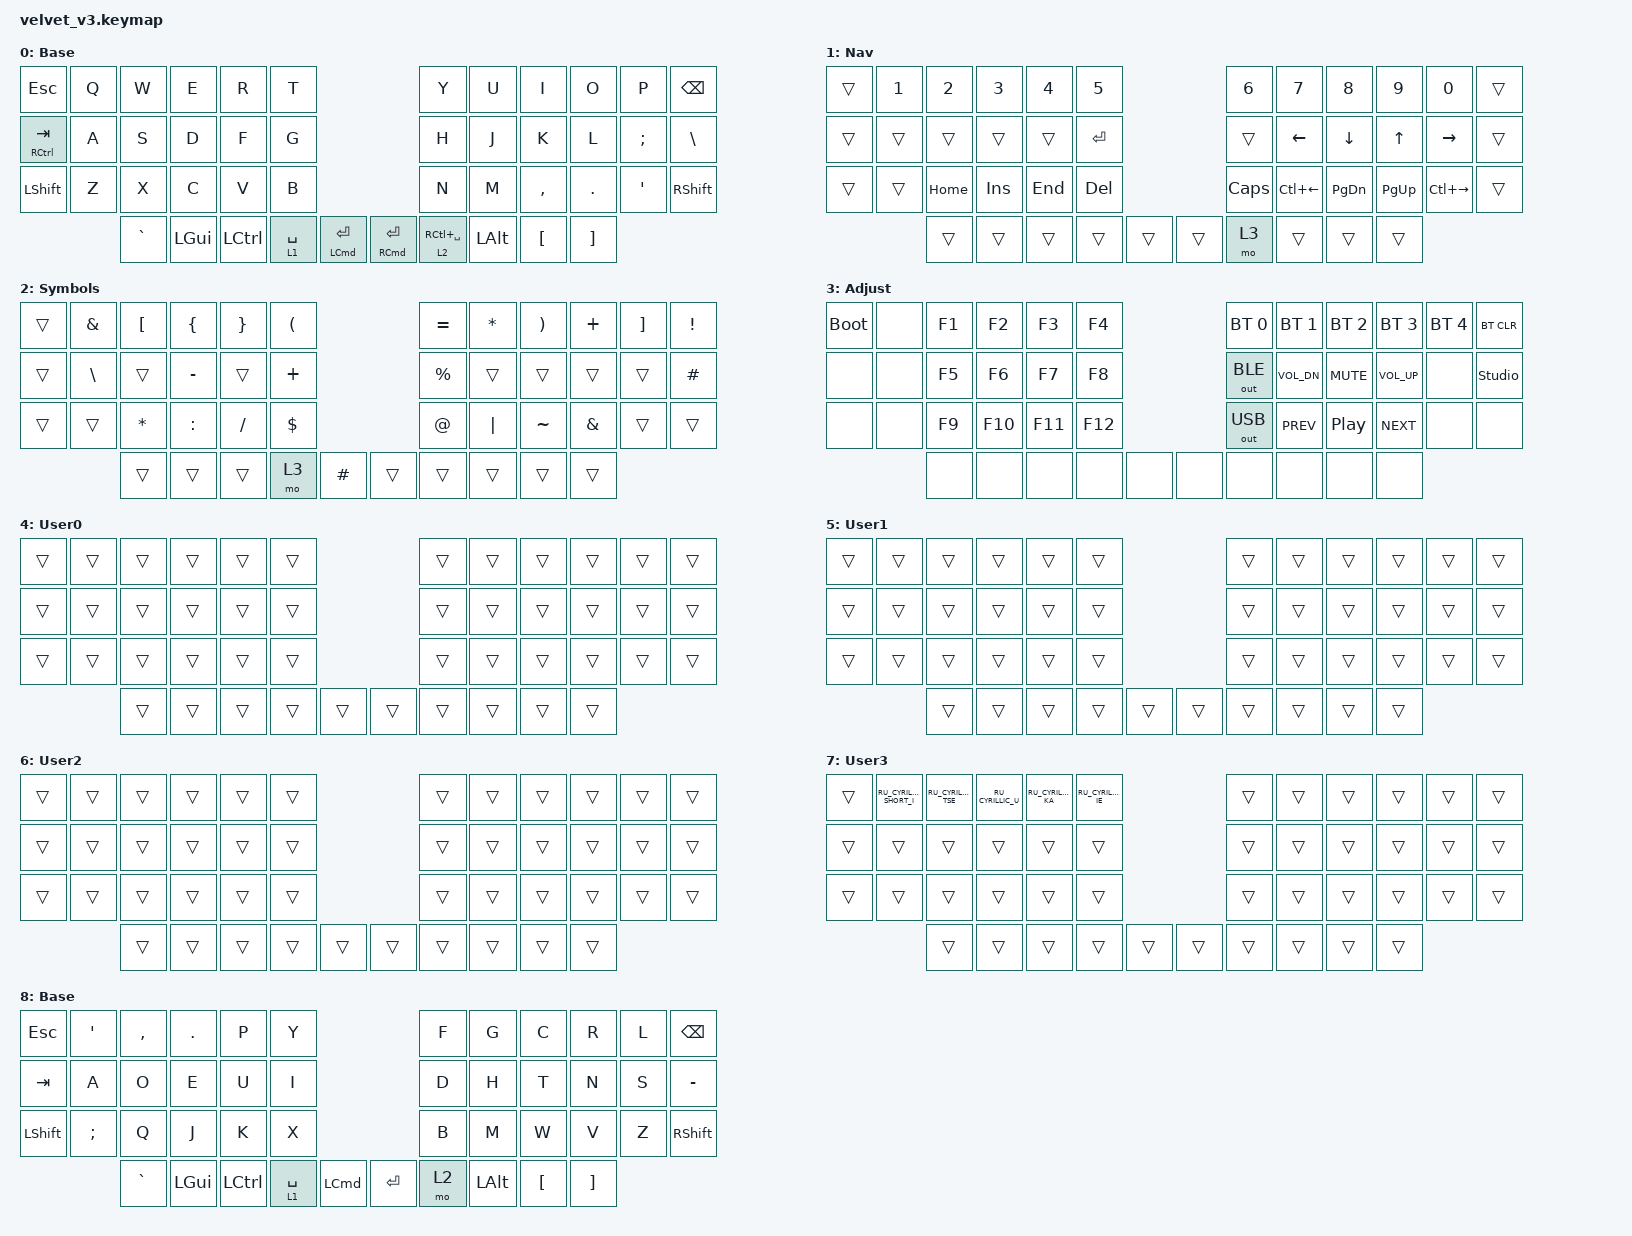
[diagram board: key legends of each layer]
#include "keys_ru.h"
#include <behaviors.dtsi>
#include <dt-bindings/zmk/bt.h>
#include <dt-bindings/zmk/keys.h>
#include <dt-bindings/zmk/outputs.h>

/ {
    combos {
        compatible = "zmk,combos";

        to_dvorak {
            bindings = <&to 8>;
            key-positions = <4 5>;
            layers = <0>;
        };

        to_base {
            bindings = <&to 0>;
            key-positions = <6 7>;
        };

        to_ru {
            bindings = <&to 7>;
            key-positions = <29 28>;
        };
    };

    keymap {
        compatible = "zmk,keymap";

        base {
            bindings = <
&kp ESC        &kp Q  &kp W      &kp E     &kp R      &kp T                                               &kp Y            &kp U     &kp I      &kp O     &kp P     &kp BSPC
&mt RCTRL TAB  &kp A  &kp S      &kp D     &kp F      &kp G                                               &kp H            &kp J     &kp K      &kp L     &kp SEMI  &kp BSLH
&kp LSHFT      &kp Z  &kp X      &kp C     &kp V      &kp B                                               &kp N            &kp M     &kp COMMA  &kp DOT   &kp SQT   &kp RSHFT
                      &kp GRAVE  &kp LGUI  &kp LCTRL  &lt 1 SPACE  &mt LCMD RET    &mt RIGHT_COMMAND RET  &lt 2 RC(SPACE)  &kp LALT  &kp LBKT   &kp RBKT
            >;

            display-name = "Base";
        };

        nav {
            bindings = <
&trans  &kp N1  &kp N2    &kp N3   &kp N4   &kp N5                     &kp N6    &kp N7        &kp N8         &kp N9       &kp N0         &trans
&trans  &trans  &trans    &trans   &trans   &kp RET                    &trans    &kp LEFT      &kp DOWN       &kp UP       &kp RIGHT      &trans
&trans  &trans  &kp HOME  &kp INS  &kp END  &kp DEL                    &kp CLCK  &kp LC(LEFT)  &kp PAGE_DOWN  &kp PAGE_UP  &kp LC(RIGHT)  &trans
                &trans    &trans   &trans   &trans   &trans    &trans  &mo 3     &trans        &trans         &trans
            >;

            display-name = "Nav";
        };

        sym {
            bindings = <
&trans  &kp AMPERSAND  &kp LEFT_BRACKET  &kp LEFT_BRACE  &kp RIGHT_BRACE  &kp LEFT_PARENTHESIS                      &kp EQUAL  &kp ASTRK  &kp RIGHT_PARENTHESIS  &kp PLUS  &kp RIGHT_BRACKET  &kp EXCL
&trans  &kp BSLH       &trans            &kp MINUS       &trans           &kp PLUS                                  &kp PRCNT  &trans     &trans                 &trans    &trans             &kp HASH
&trans  &trans         &kp STAR          &kp COLON       &kp FSLH         &kp DLLR                                  &kp AT     &kp PIPE   &kp TILDE              &kp AMPS  &trans             &trans
                       &trans            &trans          &trans           &mo 3                 &kp HASH    &trans  &trans     &trans     &trans                 &trans
            >;

            display-name = "Symbols";
        };

        adj {
            bindings = <
&bootloader  &none  &kp F1  &kp F2   &kp F3   &kp F4                   &bt BT_SEL 0  &bt BT_SEL 1  &bt BT_SEL 2      &bt BT_SEL 3  &bt BT_SEL 4  &bt BT_CLR
&none        &none  &kp F5  &kp F6   &kp F7   &kp F8                   &out OUT_BLE  &kp C_VOL_DN  &kp C_MUTE        &kp C_VOL_UP  &none         &studio_unlock
&none        &none  &kp F9  &kp F10  &kp F11  &kp F12                  &out OUT_USB  &kp C_PREV    &kp C_PLAY_PAUSE  &kp C_NEXT    &none         &none
                    &none   &none    &none    &none    &none    &none  &none         &none         &none             &none
            >;

            display-name = "Adjust";
        };

        User0 {
            bindings = <
&trans  &trans  &trans  &trans  &trans  &trans                    &trans  &trans  &trans  &trans  &trans  &trans
&trans  &trans  &trans  &trans  &trans  &trans                    &trans  &trans  &trans  &trans  &trans  &trans
&trans  &trans  &trans  &trans  &trans  &trans                    &trans  &trans  &trans  &trans  &trans  &trans
                &trans  &trans  &trans  &trans  &trans    &trans  &trans  &trans  &trans  &trans
            >;

            display-name = "User0";
        };

        User1 {
            bindings = <
&trans  &trans  &trans  &trans  &trans  &trans                    &trans  &trans  &trans  &trans  &trans  &trans
&trans  &trans  &trans  &trans  &trans  &trans                    &trans  &trans  &trans  &trans  &trans  &trans
&trans  &trans  &trans  &trans  &trans  &trans                    &trans  &trans  &trans  &trans  &trans  &trans
                &trans  &trans  &trans  &trans  &trans    &trans  &trans  &trans  &trans  &trans
            >;

            display-name = "User1";
        };

        User2 {
            bindings = <
&trans  &trans  &trans  &trans  &trans  &trans                    &trans  &trans  &trans  &trans  &trans  &trans
&trans  &trans  &trans  &trans  &trans  &trans                    &trans  &trans  &trans  &trans  &trans  &trans
&trans  &trans  &trans  &trans  &trans  &trans                    &trans  &trans  &trans  &trans  &trans  &trans
                &trans  &trans  &trans  &trans  &trans    &trans  &trans  &trans  &trans  &trans
            >;

            display-name = "User2";
        };

        russian {
            bindings = <
&trans  &kp RU_CYRILLIC_SHORT_I  &kp RU_CYRILLIC_TSE  &kp RU_CYRILLIC_U  &kp RU_CYRILLIC_KA  &kp RU_CYRILLIC_IE                    &trans  &trans  &trans  &trans  &trans  &trans
&trans  &trans                   &trans               &trans             &trans              &trans                                &trans  &trans  &trans  &trans  &trans  &trans
&trans  &trans                   &trans               &trans             &trans              &trans                                &trans  &trans  &trans  &trans  &trans  &trans
                                 &trans               &trans             &trans              &trans              &trans    &trans  &trans  &trans  &trans  &trans
            >;

            display-name = "User3";
        };

        dvorak {
            display-name = "Base";
            bindings = <
&kp ESC    &kp APOS  &kp COMMA  &kp DOT   &kp P      &kp Y                             &kp F  &kp G     &kp C     &kp R     &kp L  &kp BSPC
&kp TAB    &kp A     &kp O      &kp E     &kp U      &kp I                             &kp D  &kp H     &kp T     &kp N     &kp S  &kp MINUS
&kp LSHFT  &kp SEMI  &kp Q      &kp J     &kp K      &kp X                             &kp B  &kp M     &kp W     &kp V     &kp Z  &kp RSHFT
                     &kp GRAVE  &kp LGUI  &kp LCTRL  &lt 1 SPACE  &kp LCMD    &kp RET  &mo 2  &kp LALT  &kp LBKT  &kp RBKT
            >;
        };
    };
};
